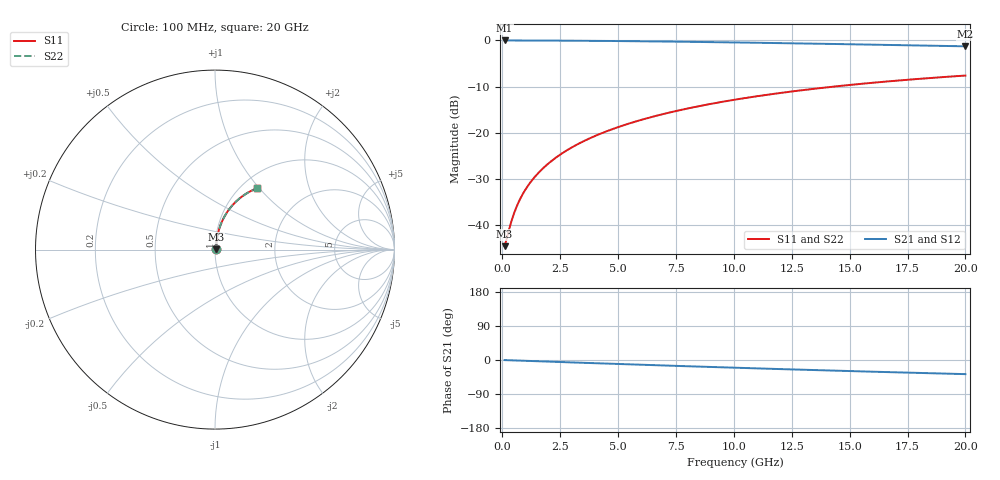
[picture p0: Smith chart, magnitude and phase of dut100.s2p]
! Touchstone file exported from HFSS 2024.1.0
!  File:  C:/UserFiles/LocalFiles/RDL_TSV_Batchsim/temp_RDL_top_100_1778683189.aedt
!  Generated:  10:41:45 PM May 13, 2026
!  Design:  RDL_top
!  Project:  temp_RDL_top_100_1778683189
!  Setup:  Setup1
!  Solution:  Sweep
! Variables:
!  dtsv = 10.80580581um
!  hbump = 3um
!  htsv = 74.01um
!  ldown = 100um
!  lrdl = 484.98um
!  p = 40
!  p1 = 41.92um
!  rhole = 1um
!  t = 450um
!  tdown = 3.915915916um
!  trdl = 2.49um
!  wdown = 15.38538539um
!  wrdl = 12.96um
# GHz S MA R 50.000000
! Terminal data exported
! Port[1] = Box2_T1
! Port[2] = Box2_T2
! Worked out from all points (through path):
!   200 points, 100 MHz to 20 GHz, reference 50 ohm
!   highest |S21| = -0.05 dB at 100 MHz (marker M1); lowest = -1.3 dB at 20 GHz (marker M2)
!   group delay of S21, straight-line fit = 5.18 ps
!   lowest |S11| = -44.5 dB at 100 MHz (marker M3), VSWR 1.01, Z = 50.5 + j0.245 ohm
!   |S11| at or under -10 dB: start of sweep to 14.35 GHz
!   |S22| runs from -44.5 to -7.6 dB; largest |S21 - S12| = 2.6e-15
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0.1  0.005964 24.0  0.9946 -0.2  0.9946 -0.2  0.005964 24.0
! Gamma 0 0 0 0
! Port Impedance 50 0 50 0
0.4  0.01121 59.1  0.9942 -0.9  0.9942 -0.9  0.01121 59.1
0.5  0.01334 63.7  0.9941 -1.1  0.9941 -1.1  0.01334 63.7
0.6  0.01552 66.9  0.9939 -1.3  0.9939 -1.3  0.01552 66.9
0.7  0.01772 69.3  0.9938 -1.5  0.9938 -1.5  0.01772 69.3
0.9  0.02216 72.6  0.9934 -2.0  0.9934 -2.0  0.02216 72.6
1.2  0.02884 75.5  0.9929 -2.6  0.9929 -2.6  0.02884 75.5
1.4  0.03331 76.8  0.9925 -3.0  0.9925 -3.0  0.03331 76.8
1.7  0.04005 78.0  0.9919 -3.6  0.9919 -3.6  0.04005 78.0
2.2  0.05134 79.2  0.9907 -4.7  0.9907 -4.7  0.05134 79.2
2.8  0.06496 79.7  0.9891 -6.0  0.9891 -6.0  0.06496 79.7
3.5  0.08091 79.7  0.9867 -7.4  0.9867 -7.4  0.08091 79.7
4.2  0.0969 79.3  0.9838 -8.9  0.9838 -8.9  0.0969 79.3
5  0.1152 78.6  0.9801 -10.5  0.9801 -10.5  0.1152 78.6
5.9  0.1357 77.6  0.9753 -12.3  0.9753 -12.3  0.1357 77.6
6.8  0.1561 76.4  0.9699 -14.1  0.9699 -14.1  0.1561 76.4
8.4  0.192 74.0  0.9592 -17.3  0.9592 -17.3  0.192 74.0
10.1  0.2292 71.3  0.9466 -20.5  0.9466 -20.5  0.2292 71.3
11.7  0.2631 68.7  0.9337 -23.4  0.9337 -23.4  0.2631 68.7
13.4  0.2977 65.9  0.9192 -26.5  0.9192 -26.5  0.2977 65.9
16.7  0.36 60.6  0.8898 -32.1  0.8898 -32.1  0.36 60.6
20  0.4155 55.5  0.8596 -37.3  0.8596 -37.3  0.4155 55.5
